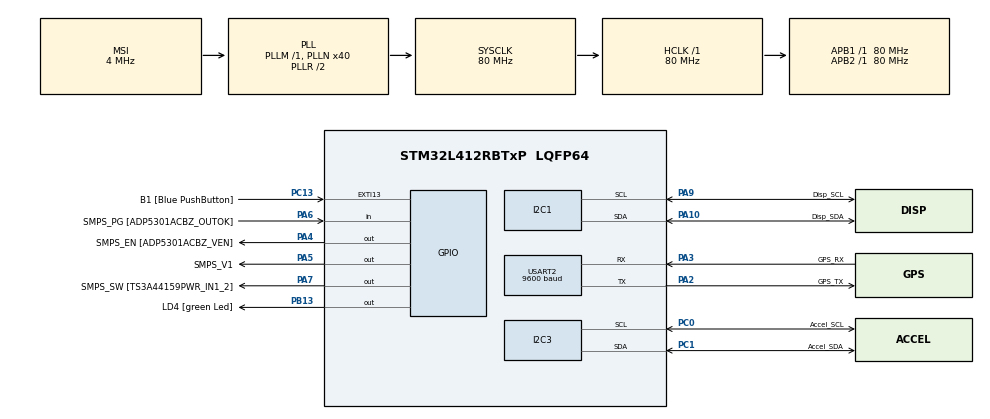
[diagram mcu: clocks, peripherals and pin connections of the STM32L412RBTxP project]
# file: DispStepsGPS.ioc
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I2C1.Timing=0x10909CEC
I2C3.Timing=0x10909CEC
Mcu.Family=STM32L4
Mcu.Name=STM32L412RBTxP
Mcu.Package=LQFP64
NVIC.PriorityGroup=NVIC_PRIORITYGROUP_4
NVIC.USART2_IRQn=true\:0\:0\:false\:false\:true\:true\:true\:true
PA10.GPIO_Label=Disp_SDA
PA10.Mode=I2C
PA10.Signal=I2C1_SDA
PA13\ (JTMS/SWDIO).GPIO_Label=TMS
PA13\ (JTMS/SWDIO).Signal=SYS_JTMS-SWDIO
PA14\ (JTCK/SWCLK).GPIO_Label=TCK
PA14\ (JTCK/SWCLK).Signal=SYS_JTCK-SWCLK
PA2.GPIO_Label=GPS_TX
PA2.GPIO_PuPd=GPIO_NOPULL
PA2.GPIO_Speed=GPIO_SPEED_FREQ_VERY_HIGH
PA2.Mode=Asynchronous
PA2.Signal=USART2_TX
PA3.GPIO_Label=GPS_RX
PA3.GPIO_PuPd=GPIO_NOPULL
PA3.GPIO_Speed=GPIO_SPEED_FREQ_VERY_HIGH
PA3.Mode=Asynchronous
PA3.Signal=USART2_RX
PA4.GPIO_Label=SMPS_EN [ADP5301ACBZ_VEN]
PA4.Signal=GPIO_Output
PA5.GPIO_Label=SMPS_V1
PA5.GPIO_ModeDefaultOutputPP=GPIO_MODE_OUTPUT_PP
PA5.GPIO_PuPd=GPIO_NOPULL
PA5.GPIO_Speed=GPIO_SPEED_FREQ_LOW
PA5.Signal=GPIO_Output
PA6.GPIO_Label=SMPS_PG [ADP5301ACBZ_OUTOK]
PA6.GPIO_PuPd=GPIO_PULLUP
PA6.Signal=GPIO_Input
PA7.GPIO_Label=SMPS_SW [TS3A44159PWR_IN1_2]
PA7.Signal=GPIO_Output
PA9.GPIO_Label=Disp_SCL
PA9.Mode=I2C
PA9.Signal=I2C1_SCL
PB13.GPIO_Label=LD4 [green Led]
PB13.Signal=GPIO_Output
PB3\ (JTDO/TRACESWO).GPIO_Label=SWO
PB3\ (JTDO/TRACESWO).Signal=SYS_JTDO-SWO
PC0.GPIO_Label=Accel_SCL
PC0.Mode=I2C
PC0.Signal=I2C3_SCL
PC1.GPIO_Label=Accel_SDA
PC1.Mode=I2C
PC1.Signal=I2C3_SDA
PC13.GPIO_Label=B1 [Blue PushButton]
PC13.GPIO_ModeDefaultEXTI=GPIO_MODE_IT_FALLING
PC13.GPIO_PuPd=GPIO_NOPULL
PC13.Signal=GPXTI13
PC14-OSC32_IN\ (PC14).Signal=RCC_OSC32_IN
PC15-OSC32_OUT\ (PC15).Signal=RCC_OSC32_OUT
PH0-OSC_IN\ (PH0).GPIO_Label=MCO
PH0-OSC_IN\ (PH0).Signal=RCC_OSC_IN
PH1-OSC_OUT\ (PH1).Signal=RCC_OSC_OUT
ProjectManager.HeapSize=0x200
ProjectManager.StackSize=0x400
ProjectManager.TargetToolchain=STM32CubeIDE
RCC.ADCFreq_Value=80000000
RCC.AHBFreq_Value=80000000
RCC.APB1Freq_Value=80000000
RCC.APB1TimFreq_Value=80000000
RCC.APB2Freq_Value=80000000
RCC.APB2TimFreq_Value=80000000
RCC.CortexFreq_Value=80000000
RCC.FLatency=FLASH_LATENCY_4
RCC.HCLKFreq_Value=80000000
RCC.HSE_VALUE=8000000
RCC.HSI48_VALUE=48000000
RCC.HSICalibrationValue=16
RCC.HSI_VALUE=16000000
RCC.LSE_VALUE=32768
RCC.MSI_VALUE=4000000
RCC.PLLN=40
RCC.PREFETCH_ENABLE=1
RCC.SYSCLKFreq_VALUE=80000000
RCC.SYSCLKSource=RCC_SYSCLKSOURCE_PLLCLK
RCC.USBFreq_Value=4000000
RCC.VCOOutputFreq_Value=160000000
USART2.BaudRate=9600
USART2.VirtualMode-Asynchronous=VM_ASYNC
board=NUCLEO-L412RB-P

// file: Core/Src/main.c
/* USER CODE BEGIN Header */
/**
  ******************************************************************************
  * @file           : main.c
  * @brief          : Main program body
  ******************************************************************************
  * @attention
  *
  * Copyright (c) 2023 STMicroelectronics.
  * All rights reserved.
  *
  * This software is licensed under terms that can be found in the LICENSE file
  * in the root directory of this software component.
  * If no LICENSE file comes with this software, it is provided AS-IS.
  *
  ******************************************************************************
  */
/* USER CODE END Header */
#include "main.h"

/* USER CODE BEGIN Includes */
#include <string.h>
#include <stdio.h>
#include <stdlib.h>
#include "stm32l4xx.h"
#include "GPS.h"
#include "I2C.h"
#include "ssd1306.h"
#include "lis3dh.h"
#include "count_steps.h"
#include "math.h"   //using this for converting the CSV data from float to int

/* USER CODE END Includes */

/* USER CODE BEGIN PD */
#define NUM_SAMPLES_IN_CSV_FILE 400//400
#define MIN_GPS_DISTANCE 5
/* USER CODE END PD */

I2C_HandleTypeDef hi2c1;
I2C_HandleTypeDef hi2c3;

UART_HandleTypeDef huart2;

/* USER CODE BEGIN PV */
// Allocate a buffer for reading data from the sensor.
// Six bytes required to read XYZ data.
uint8_t xyz_buf[6] = { 0 };
// New instance of the lis3dh convenience object.
lis3dh_t lis3dh;

// lis3dh calls return this HAL status type.
HAL_StatusTypeDef status;
/* USER CODE END PV */

void SystemClock_Config(void);
static void MX_GPIO_Init(void);
static void MX_I2C1_Init(void);
static void MX_I2C3_Init(void);
static void MX_USART2_UART_Init(void);

/* USER CODE BEGIN 0 */
UART_HandleTypeDef huart2;
uint8_t nmea;
char nmea_buf[256];
char nmea_gga[256];
uint8_t i = 0;

double cur_lat = 0;
double cur_lon = 0;
double pre_lat = 0;
double pre_lon = 0;
double alt = 0;

double get_lat(char *gga)
{
	double latitude = 0.0;

	char gga_cpy[256];
	strncpy(gga_cpy, gga, 256);

	char *token = strtok(gga_cpy, ",");

	while (token != NULL)
	{
		if ((strcmp(token, "N") == 0) || (strcmp(token, "S") == 0))
		{
			break;
		}
		else
		{
			latitude = atof(token);
		}
			token = strtok(NULL, ",");
	}

		return latitude;
}

double get_lon(char *gga)
{
	double longitude = 0.0;

	char gga_cpy[256];
	strncpy(gga_cpy, gga, 256);

	char *token = strtok(gga_cpy, ",");

	while (token != NULL)
	{
		if ((strcmp(token, "W") == 0) || (strcmp(token, "E") == 0))
		{
			break;
		}
		else
		{
			longitude = atof(token);
		}
			token = strtok(NULL, ",");
	}

		return longitude;
}

double get_alt(char *gga)
{
	double altitude = 0.0;

	char gga_cpy[256];
	strncpy(gga_cpy, gga, 256);

	char *token = strtok(gga_cpy, ",");

	while (token != NULL)
	{
		if (strcmp(token, "M") == 0)
		{
			break;
		}
		else
		{
			altitude = atof(token);
		}
			token = strtok(NULL, ",");
	}

		return altitude;
}

void HAL_UART_RxCpltCallback(UART_HandleTypeDef *huart) {
    if (huart == &huart2) {

        nmea_buf[i++] = nmea;
        //char buf1[16];
        //char buf2[16];

        if (nmea == '\n' || i >= sizeof(nmea_buf) - 1) {
        	if(nmea_buf[3]=='G' && nmea_buf[4]=='G' && nmea_buf[5] == 'A')
        	{
        		memcpy(nmea_gga, nmea_buf, 256);
        		cur_lat = get_lat(nmea_gga);
        		cur_lon = get_lon(nmea_gga);
        		alt = get_alt(nmea_gga);

        	}

            memset(nmea_buf, 0, sizeof(nmea_buf));
            i = 0;
        }

        // Start the next reception
        HAL_UART_Receive_IT(&huart2, &nmea, 1);
    }
}
/* USER CODE END 0 */

int main(void)
{

  /* MCU Configuration--------------------------------------------------------*/

  /* Reset of all peripherals, Initializes the Flash interface and the Systick. */
  HAL_Init();

  /* Configure the system clock */
  SystemClock_Config();

  /* Initialize all configured peripherals */
  MX_GPIO_Init();
  MX_I2C1_Init();
  MX_I2C3_Init();
  MX_USART2_UART_Init();
  /* USER CODE BEGIN 2 */
  char buf1[16];
  //char buf2[16];

  /* USER CODE END 2 */
  status = lis3dh_init(&lis3dh, &hi2c3, xyz_buf, 6);

          if (status != HAL_OK) {
          	 //HAL_GPIO_TogglePin(GPIOB, GPIO_PIN_13);
            // Unable to communicate with device!
          }

          char message[64] = "Starting Up";
            //ssd1306_TestAll();
            ssd1306_Init();
            ssd1306_Fill(Black);
            ssd1306_SetCursor(2,0);
            ssd1306_WriteString(message, Font_11x18, White);
            ssd1306_UpdateScreen();
    /* USER CODE END 2 */

    /* Infinite loop */
    /* USER CODE BEGIN WHILE */
          uint8_t  num_steps  = 0;
          float distance = 0;
          float total_distance;
          float new_distance;
          //char buf[20];
          HAL_UART_Receive_IT(&huart2, &nmea, 1);
          while (1)
                {
          	//hold the data from the CSV file in a fifo-like data structure where the accelerometer data looks like
          	        	    	    //[x1,y1,z1,x2,y2,z2...x400,y400,z400]
          	        	    	    int8_t acc[NUM_SAMPLES_IN_CSV_FILE*3] = {0};
          	        	    	    uint16_t i    = 0;
          	        	    	    float    temp = 0;
          	        	    	    while(i < NUM_SAMPLES_IN_CSV_FILE*3) //while data array is being filled
          	        	        	{
          	        	    			  HAL_Delay(50); //20Hz
          	        	    			  //HAL_GPIO_TogglePin(GPIOB, GPIO_PIN_13);

          	        	    			//scaling factor to convert the decimal data to int8 integers. calculated in matlab by taking the absolute value of all the data
          	        	    			//and then calculating the max of that data. then divide that by 127 to get the scaling factor
          	        	    			  float scale_factor = 55.3293;

          	        					  if (lis3dh_xyz_available(&lis3dh)) {
          	        							status = lis3dh_get_xyz(&lis3dh);
          	        							float xx = lis3dh.x/16384;
          	        							float yy = lis3dh.y/16384;
          	        							float zz = lis3dh.z/16384;

          	        							temp     = roundf(xx*scale_factor);
          	        							acc[i++] = (int8_t)temp;

          	        							temp     = roundf(yy*scale_factor);
          	        							acc[i++] = (int8_t)temp;

          	        							temp     = roundf(zz*scale_factor);
          	        							acc[i++] = (int8_t)temp;

          	        							//printf("%f, %f, %f\r\n",xx,yy,zz);
          	        							// You now have raw acceleration of gravity in lis3dh->x, y, and z.

          	        						  }
          	        	        	  }
          	        	        	  //pass data to step counting algorithm, 4 seconds at a time (which is the WINDOW_LENGTH). put the data into a temporary buffer each loop
          	        	        	      int8_t   data[NUM_TUPLES*3] = {0};
          	        	        	      uint8_t  num_segments       = NUM_SAMPLES_IN_CSV_FILE/(SAMPLING_RATE*WINDOW_LENGTH);
          	        	        	      uint16_t j                  = 0;

          	        	        	      for (i = 0; i < num_segments; i++) {
          	        	        	          for (j = SAMPLING_RATE*WINDOW_LENGTH*i*3; j < SAMPLING_RATE*WINDOW_LENGTH*(i+1)*3; j++) {
          	        	        	              data[j-SAMPLING_RATE*WINDOW_LENGTH*i*3] = acc[j];
          	        	        	          }
          	        	        	          num_steps += count_steps(data);
          	        	        	      }

          	        	        	      //printf("num steps: %i\n\r", num_steps);
          	        	        	      ssd1306_Fill(Black);
          	        	        	      ssd1306_SetCursor(2,0);
          	        	        	      ssd1306_WriteString("Steps:", Font_11x18, White);
          	        	        	      ssd1306_SetCursor(2,15);
          	        	        	      ssd1306_WriteString(itoa(num_steps,message,10), Font_11x18, White);
          	        	        	      ssd1306_SetCursor(2,30);
          	        	        	      ssd1306_WriteString("Distance:", Font_11x18, White);
//          	        	        	  sprintf(buf1,"%0.4f",cur_lat);
//          	        	        	  ssd1306_WriteString(buf1, Font_11x18, White);
//          	        	        	  ssd1306_SetCursor(2,45);
//          	        	        	  ssd1306_WriteString("20 miles", Font_11x18, White);
//          	        	        	  sprintf(buf2,"%0.4f",cur_lon);
//          	        	        	  ssd1306_WriteString(buf2, Font_11x18, White);
          	        	        	      ssd1306_UpdateScreen();

          	        	        	      if((pre_lat == 0) && (pre_lon == 0))
          	        	        	      {

          	        	        	    	ssd1306_SetCursor(2,50);
          	        	        	    	ssd1306_WriteString("Need GPS Lock", Font_7x10, White);
          	        	        	    	ssd1306_UpdateScreen();
          	        	        	      }
          	        	        	      else
          	        	        	      {

          	        	        	    	new_distance = calculateDistance(pre_lat, pre_lon, cur_lat, cur_lon);
          	        	        	    	if (new_distance > MIN_GPS_DISTANCE){
          	        	        	    		total_distance += new_distance;
          	        	        	    	}
											sprintf(buf1,"%0.2f",distance);
											ssd1306_SetCursor(2,45);
											ssd1306_WriteString(buf1, Font_11x18, White);
											ssd1306_UpdateScreen();

          	        	        	      }
          	        	        	      pre_lat = cur_lat;
          	        	        	      pre_lon = cur_lon;
          	        	        	    HAL_GPIO_TogglePin(GPIOB, GPIO_PIN_13);

      /* USER CODE END WHILE */
                }
}

void SystemClock_Config(void)
{
  RCC_OscInitTypeDef RCC_OscInitStruct = {0};
  RCC_ClkInitTypeDef RCC_ClkInitStruct = {0};

  /** Configure the main internal regulator output voltage
  */
  if (HAL_PWREx_ControlVoltageScaling(PWR_REGULATOR_VOLTAGE_SCALE1) != HAL_OK)
  {
    Error_Handler();
  }

  /** Initializes the RCC Oscillators according to the specified parameters
  * in the RCC_OscInitTypeDef structure.
  */
  RCC_OscInitStruct.OscillatorType = RCC_OSCILLATORTYPE_MSI;
  RCC_OscInitStruct.MSIState = RCC_MSI_ON;
  RCC_OscInitStruct.MSICalibrationValue = 0;
  RCC_OscInitStruct.MSIClockRange = RCC_MSIRANGE_6;
  RCC_OscInitStruct.PLL.PLLState = RCC_PLL_ON;
  RCC_OscInitStruct.PLL.PLLSource = RCC_PLLSOURCE_MSI;
  RCC_OscInitStruct.PLL.PLLM = 1;
  RCC_OscInitStruct.PLL.PLLN = 40;
  RCC_OscInitStruct.PLL.PLLQ = RCC_PLLQ_DIV2;
  RCC_OscInitStruct.PLL.PLLR = RCC_PLLR_DIV2;
  if (HAL_RCC_OscConfig(&RCC_OscInitStruct) != HAL_OK)
  {
    Error_Handler();
  }

  /** Initializes the CPU, AHB and APB buses clocks
  */
  RCC_ClkInitStruct.ClockType = RCC_CLOCKTYPE_HCLK|RCC_CLOCKTYPE_SYSCLK
                              |RCC_CLOCKTYPE_PCLK1|RCC_CLOCKTYPE_PCLK2;
  RCC_ClkInitStruct.SYSCLKSource = RCC_SYSCLKSOURCE_PLLCLK;
  RCC_ClkInitStruct.AHBCLKDivider = RCC_SYSCLK_DIV1;
  RCC_ClkInitStruct.APB1CLKDivider = RCC_HCLK_DIV1;
  RCC_ClkInitStruct.APB2CLKDivider = RCC_HCLK_DIV1;

  if (HAL_RCC_ClockConfig(&RCC_ClkInitStruct, FLASH_LATENCY_4) != HAL_OK)
  {
    Error_Handler();
  }
}

static void MX_I2C1_Init(void)
{

  hi2c1.Instance = I2C1;
  hi2c1.Init.Timing = 0x10909CEC;
  hi2c1.Init.OwnAddress1 = 0;
  hi2c1.Init.AddressingMode = I2C_ADDRESSINGMODE_7BIT;
  hi2c1.Init.DualAddressMode = I2C_DUALADDRESS_DISABLE;
  hi2c1.Init.OwnAddress2 = 0;
  hi2c1.Init.OwnAddress2Masks = I2C_OA2_NOMASK;
  hi2c1.Init.GeneralCallMode = I2C_GENERALCALL_DISABLE;
  hi2c1.Init.NoStretchMode = I2C_NOSTRETCH_DISABLE;
  if (HAL_I2C_Init(&hi2c1) != HAL_OK)
  {
    Error_Handler();
  }

  /** Configure Analogue filter
  */
  if (HAL_I2CEx_ConfigAnalogFilter(&hi2c1, I2C_ANALOGFILTER_ENABLE) != HAL_OK)
  {
    Error_Handler();
  }

  /** Configure Digital filter
  */
  if (HAL_I2CEx_ConfigDigitalFilter(&hi2c1, 0) != HAL_OK)
  {
    Error_Handler();
  }

}

static void MX_I2C3_Init(void)
{

  hi2c3.Instance = I2C3;
  hi2c3.Init.Timing = 0x10909CEC;
  hi2c3.Init.OwnAddress1 = 0;
  hi2c3.Init.AddressingMode = I2C_ADDRESSINGMODE_7BIT;
  hi2c3.Init.DualAddressMode = I2C_DUALADDRESS_DISABLE;
  hi2c3.Init.OwnAddress2 = 0;
  hi2c3.Init.OwnAddress2Masks = I2C_OA2_NOMASK;
  hi2c3.Init.GeneralCallMode = I2C_GENERALCALL_DISABLE;
  hi2c3.Init.NoStretchMode = I2C_NOSTRETCH_DISABLE;
  if (HAL_I2C_Init(&hi2c3) != HAL_OK)
  {
    Error_Handler();
  }

  /** Configure Analogue filter
  */
  if (HAL_I2CEx_ConfigAnalogFilter(&hi2c3, I2C_ANALOGFILTER_ENABLE) != HAL_OK)
  {
    Error_Handler();
  }

  /** Configure Digital filter
  */
  if (HAL_I2CEx_ConfigDigitalFilter(&hi2c3, 0) != HAL_OK)
  {
    Error_Handler();
  }

}

static void MX_USART2_UART_Init(void)
{

  huart2.Instance = USART2;
  huart2.Init.BaudRate = 9600;
  huart2.Init.WordLength = UART_WORDLENGTH_8B;
  huart2.Init.StopBits = UART_STOPBITS_1;
  huart2.Init.Parity = UART_PARITY_NONE;
  huart2.Init.Mode = UART_MODE_TX_RX;
  huart2.Init.HwFlowCtl = UART_HWCONTROL_NONE;
  huart2.Init.OverSampling = UART_OVERSAMPLING_16;
  huart2.Init.OneBitSampling = UART_ONE_BIT_SAMPLE_DISABLE;
  huart2.AdvancedInit.AdvFeatureInit = UART_ADVFEATURE_NO_INIT;
  if (HAL_UART_Init(&huart2) != HAL_OK)
  {
    Error_Handler();
  }

}

static void MX_GPIO_Init(void)
{
  GPIO_InitTypeDef GPIO_InitStruct = {0};

  /* GPIO Ports Clock Enable */
  __HAL_RCC_GPIOC_CLK_ENABLE();
  __HAL_RCC_GPIOH_CLK_ENABLE();
  __HAL_RCC_GPIOA_CLK_ENABLE();
  __HAL_RCC_GPIOB_CLK_ENABLE();

  /*Configure GPIO pin Output Level */
  HAL_GPIO_WritePin(GPIOA, SMPS_EN_Pin|SMPS_V1_Pin|SMPS_SW_Pin, GPIO_PIN_RESET);

  /*Configure GPIO pin Output Level */
  HAL_GPIO_WritePin(LD4_GPIO_Port, LD4_Pin, GPIO_PIN_RESET);

  /*Configure GPIO pin : B1_Pin */
  GPIO_InitStruct.Pin = B1_Pin;
  GPIO_InitStruct.Mode = GPIO_MODE_IT_FALLING;
  GPIO_InitStruct.Pull = GPIO_NOPULL;
  HAL_GPIO_Init(B1_GPIO_Port, &GPIO_InitStruct);

  /*Configure GPIO pins : SMPS_EN_Pin SMPS_V1_Pin SMPS_SW_Pin */
  GPIO_InitStruct.Pin = SMPS_EN_Pin|SMPS_V1_Pin|SMPS_SW_Pin;
  GPIO_InitStruct.Mode = GPIO_MODE_OUTPUT_PP;
  GPIO_InitStruct.Pull = GPIO_NOPULL;
  GPIO_InitStruct.Speed = GPIO_SPEED_FREQ_LOW;
  HAL_GPIO_Init(GPIOA, &GPIO_InitStruct);

  /*Configure GPIO pin : SMPS_PG_Pin */
  GPIO_InitStruct.Pin = SMPS_PG_Pin;
  GPIO_InitStruct.Mode = GPIO_MODE_INPUT;
  GPIO_InitStruct.Pull = GPIO_PULLUP;
  HAL_GPIO_Init(SMPS_PG_GPIO_Port, &GPIO_InitStruct);

  /*Configure GPIO pin : LD4_Pin */
  GPIO_InitStruct.Pin = LD4_Pin;
  GPIO_InitStruct.Mode = GPIO_MODE_OUTPUT_PP;
  GPIO_InitStruct.Pull = GPIO_NOPULL;
  GPIO_InitStruct.Speed = GPIO_SPEED_FREQ_LOW;
  HAL_GPIO_Init(LD4_GPIO_Port, &GPIO_InitStruct);

}

void Error_Handler(void)
{
  __disable_irq();
  while (1)
  {
  }
}
